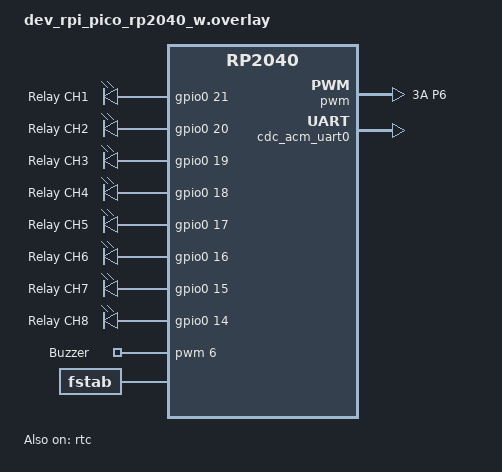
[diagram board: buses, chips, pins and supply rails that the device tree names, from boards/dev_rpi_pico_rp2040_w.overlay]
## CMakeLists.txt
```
# SPDX-License-Identifier: Apache-2.0

cmake_minimum_required(VERSION 3.13.1)

find_package(Zephyr REQUIRED HINTS $ENV{ZEPHYR_BASE})
project(WebinarEmbarcados2026)

target_include_directories(app PRIVATE
    ${CMAKE_CURRENT_SOURCE_DIR}/inc
)

# Add all source files
file(GLOB APP_SOURCES ${CMAKE_CURRENT_SOURCE_DIR}/src/*.c)
target_sources(app PRIVATE ${APP_SOURCES})

# Generate gzip-compressed web resources as C includes at build time
set(gen_dir ${ZEPHYR_BINARY_DIR}/include/generated/)

foreach(web_resource index.html app.js style.css)
    generate_inc_file_for_target(
        app
        www/${web_resource}
        ${gen_dir}/${web_resource}.gz.inc
        --gzip
    )
endforeach()

# HTTP server linker sections for web_service resources
zephyr_linker_sources(SECTIONS sections-rom.ld)
zephyr_linker_section(NAME http_resource_desc_web_service
                      KVMA RAM_REGION GROUP RODATA_REGION)
```

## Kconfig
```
#
# Zephyr configuration options
# Source the Kconfig.zephyr in the Zephyr root directory.
# Check out the docs: https://docs.zephyrproject.org/latest/develop/application/index.html#application-cmakelists-txt
#
menu "Zephyr"

source "Kconfig.zephyr"

endmenu

menu "Nordic Sta sample"

config CONNECTION_IDLE_TIMEOUT
    int "Time to be waited for a station to connect"
    default 30

config STA_SAMPLE_SSID
    string "SSID"
    help
        Specify the SSID to connect

choice  STA_KEY_MGMT_SELECT
    prompt "Security Option"
    default STA_KEY_MGMT_WPA3

config STA_KEY_MGMT_NONE
    bool "Open Security"
    help
        Enable for Open Security

config STA_KEY_MGMT_WPA2
    bool "WPA2 Security"
    help
        Enable for WPA2 Security

config STA_KEY_MGMT_WPA2_256
    bool "WPA2 SHA 256 Security"
    help
        Enable for WPA2-PSK-256 Security

config STA_KEY_MGMT_WPA3
    bool "WPA3 Security"
    help
        Enable for WPA3 Security
endchoice

config STA_SAMPLE_PASSWORD
    string "Passphrase (WPA2) or password (WPA3)"
    help
        Specify the Password to connect

config NRF700X_QSPI_ENCRYPTION_KEY
    string "16 bytes QSPI encryption key, only for testing purposes"
    depends on BOARD_NRF7002DK_NRF5340
    help
        Specify the QSPI encryption key
endmenu
```

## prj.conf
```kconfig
# GZM custom libraries
CONFIG_GZM_COMMON=y
CONFIG_GZM_RTC_MGR=y
CONFIG_GZM_WIFI_MGR=y
CONFIG_GZM_FS_MGR=y
CONFIG_GZM_RINGTONE=y

CONFIG_PRINTK=y
CONFIG_SERIAL=y
CONFIG_PICOLIBC=y
CONFIG_PICOLIBC_USE_MODULE=y
# Habilita Wi-Fi com o driver CYW43xx do Raspberry Pi Pico W
CONFIG_WIFI=y
CONFIG_WIFI_AIROC=y
CONFIG_NET_L2_WIFI_MGMT=y

# Networking geral com IPv4 e DHCP
CONFIG_NETWORKING=y
CONFIG_NET_IPV4=y
CONFIG_NET_IPV6=n
CONFIG_NET_DHCPV4=y
CONFIG_NET_SOCKETS=y
CONFIG_NET_TCP=y
CONFIG_NET_UDP=y
# CONFIG_NET_CONFIG_SETTINGS disabled: wifi_mgr handles DHCP/WiFi directly

# SNTP client
CONFIG_SNTP=y

# Suporte à geração de números aleatórios
# CONFIG_ENTROPY_GENERATOR não é usado: RP2040 não tem driver de entropia em Zephyr
CONFIG_TEST_RANDOM_GENERATOR=y
CONFIG_TIMER_RANDOM_GENERATOR=y

# Logs e shell para testes
CONFIG_LOG=y
CONFIG_LOG_BUFFER_SIZE=4096
CONFIG_PRINTK=y
CONFIG_SERIAL=y
CONFIG_SHELL=y
CONFIG_SHELL_BACKEND_SERIAL_RX_RING_BUFFER_SIZE=256
CONFIG_SHELL_CMD_BUFF_SIZE=512
CONFIG_NET_SHELL=y
CONFIG_NET_LOG=y
CONFIG_WIFI_LOG_LEVEL_WRN=y

# Shell via Telnet (porta 23)
CONFIG_SHELL_BACKEND_TELNET=y
CONFIG_SHELL_TELNET_PORT=23
CONFIG_SHELL_TELNET_SUPPORT_COMMAND=y

# Pilhas de execução
CONFIG_MAIN_STACK_SIZE=4096
CONFIG_SHELL_STACK_SIZE=2048
CONFIG_LOG_PROCESS_THREAD_STACK_SIZE=1024
CONFIG_INIT_STACKS=y

# Debug de crashes
CONFIG_DEBUG=y
CONFIG_EXCEPTION_DEBUG=y
CONFIG_FAULT_DUMP=2
CONFIG_EXTRA_EXCEPTION_INFO=y

# Heap para operações de rede, filesystem e HTTP server
CONFIG_HEAP_MEM_POOL_SIZE=32768

# Delay e temporizadores
CONFIG_TIMING_FUNCTIONS=y

# Console via USB CDC ACM (nova stack USB do Zephyr 4.3)
CONFIG_CONSOLE=y
CONFIG_STDOUT_CONSOLE=y
CONFIG_USB_DEVICE_STACK_NEXT=y
CONFIG_USBD_CDC_ACM_CLASS=y
CONFIG_CDC_ACM_SERIAL_INITIALIZE_AT_BOOT=y
CONFIG_CDC_ACM_SERIAL_PRODUCT_STRING="gzm-embedded-systems"
CONFIG_USBD_CDC_ACM_LOG_LEVEL_OFF=y
CONFIG_USBD_LOG_LEVEL_WRN=y

# RTC - Real Time Clock
CONFIG_RTC=y
CONFIG_RTC_SHELL=y

# HWINFO - reset cause + device ID (used by setup_init_sanity)
CONFIG_HWINFO=y

# Watchdog - resets the SoC if firmware hangs (5 s timeout)
CONFIG_WATCHDOG=y
CONFIG_WDT_DISABLE_AT_BOOT=n

# Flash e File System
CONFIG_FLASH=y
CONFIG_FLASH_MAP=y
CONFIG_FLASH_PAGE_LAYOUT=y

# LittleFS
CONFIG_FILE_SYSTEM=y
CONFIG_FILE_SYSTEM_LITTLEFS=y
CONFIG_FILE_SYSTEM_SHELL=y

# LittleFS - configurações otimizadas para RP2040
CONFIG_FS_LITTLEFS_FC_HEAP_SIZE=4096
CONFIG_FS_LITTLEFS_CACHE_SIZE=256
CONFIG_FS_LITTLEFS_PROG_SIZE=256
CONFIG_FS_LITTLEFS_READ_SIZE=16
CONFIG_FS_LITTLEFS_LOOKAHEAD_SIZE=128

# Storage (necessário para montar o filesystem)
CONFIG_SETTINGS=y
CONFIG_SETTINGS_RUNTIME=y

# HTTP Server
CONFIG_HTTP_SERVER=y
CONFIG_HTTP_SERVER_MAX_CLIENTS=2
CONFIG_HTTP_SERVER_CLIENT_BUFFER_SIZE=1024
CONFIG_HTTP_SERVER_MAX_URL_LENGTH=256
CONFIG_HTTP_SERVER_STACK_SIZE=6144
CONFIG_HTTP_SERVER_RESOURCE_WILDCARD=y

# JSON library (para Relay API)
CONFIG_JSON_LIBRARY=y

# GPIO (relays)
CONFIG_GPIO=y

# PWM (buzzer passivo GP6)
CONFIG_PWM=y

# LED Strip - WS2812 via PIO (GP13)
CONFIG_LED_STRIP=y

# mDNS
CONFIG_MDNS_RESPONDER=y
CONFIG_DNS_SD=y
CONFIG_NET_HOSTNAME_ENABLE=y
CONFIG_NET_HOSTNAME="embarcados"

# File descriptors (eventfd + sockets para HTTP server)
CONFIG_ZVFS_OPEN_MAX=16
CONFIG_ZVFS_EVENTFD_MAX=2
CONFIG_ZVFS_POLL_MAX=6
CONFIG_NET_SOCKETS_SERVICE_STACK_SIZE=2048

# Network buffers (ajustados para HTTP server + WiFi no RP2040)
CONFIG_NET_PKT_RX_COUNT=8
CONFIG_NET_PKT_TX_COUNT=8
CONFIG_NET_BUF_RX_COUNT=16
CONFIG_NET_BUF_TX_COUNT=16
CONFIG_NET_BUF_DATA_SIZE=512
CONFIG_NET_MAX_CONTEXTS=8
CONFIG_NET_MAX_CONN=8
CONFIG_NET_TX_STACK_SIZE=2048
CONFIG_NET_RX_STACK_SIZE=2048
CONFIG_NET_TCP_WORKQ_STACK_SIZE=2048
```

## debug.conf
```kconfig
# Debug configuration for RP2040
# Note: Avoid CONFIG_DEBUG_OPTIMIZATIONS as it can affect
# flash functions placement in RAM

CONFIG_DEBUG=y
CONFIG_DEBUG_THREAD_INFO=y

# NAO habilitar CONFIG_ARM_MPU / CONFIG_HW_STACK_PROTECTION neste SoC.
# Com CONFIG_XIP=y o REGION_RAM_ATTR do Zephyr marca toda a SRAM como
# execute-never (MPU_RASR_XN_Msk). As rotinas de flash do RP2040 sao
# __no_inline_not_in_flash_func, ou seja, rodam a partir da SRAM porque o
# XIP precisa ser desligado para falar com a QSPI. Resultado: hard fault
# em flash_do_cmd() logo no boot (hwinfo -> serial USB, littlefs, etc).
#
# Substituto por software para detectar estouro de pilha, sem MPU:
# grava um valor magico na base de cada pilha e verifica a cada troca
# de contexto, matando a thread culpada com log em vez de corromper.
CONFIG_STACK_SENTINEL=y

# Relatorio periodico de uso de pilha por thread (precisa de INIT_STACKS,
# ja habilitado no prj.conf).
CONFIG_THREAD_ANALYZER=y
CONFIG_THREAD_ANALYZER_USE_LOG=y
CONFIG_THREAD_ANALYZER_AUTO=y
CONFIG_THREAD_ANALYZER_AUTO_INTERVAL=10
CONFIG_THREAD_NAME=y
```

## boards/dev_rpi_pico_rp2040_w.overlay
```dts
/*
 * SPDX-License-Identifier: Apache-2.0
 *
 * Overlay para Industrial 8-Channel Relay Module for Raspberry Pi Pico W
 *
 * GPIO Map:
 *   GP6  - Buzzer (passive, PWM slice 3 ch A)
 *   GP13 - WS2812 RGB LED (PIO1)
 *   GP14 - Relay CH8    GP18 - Relay CH4
 *   GP15 - Relay CH7    GP19 - Relay CH3
 *   GP16 - Relay CH6    GP20 - Relay CH2
 *   GP17 - Relay CH5    GP21 - Relay CH1
 */

#include <dt-bindings/pinctrl/rpi-pico-rp2040-pinctrl.h>
#include <dt-bindings/pwm/pwm.h>
#include <dt-bindings/led/led.h>

/ {
	chosen {
		zephyr,console = &cdc_acm_uart0;
		zephyr,shell-uart = &cdc_acm_uart0;
	};

	/* 8-Channel Relay outputs (Active HIGH) */
	relays {
		compatible = "gpio-leds";
		relay1: relay_1 { gpios = <&gpio0 21 GPIO_ACTIVE_HIGH>; label = "Relay CH1"; };
		relay2: relay_2 { gpios = <&gpio0 20 GPIO_ACTIVE_HIGH>; label = "Relay CH2"; };
		relay3: relay_3 { gpios = <&gpio0 19 GPIO_ACTIVE_HIGH>; label = "Relay CH3"; };
		relay4: relay_4 { gpios = <&gpio0 18 GPIO_ACTIVE_HIGH>; label = "Relay CH4"; };
		relay5: relay_5 { gpios = <&gpio0 17 GPIO_ACTIVE_HIGH>; label = "Relay CH5"; };
		relay6: relay_6 { gpios = <&gpio0 16 GPIO_ACTIVE_HIGH>; label = "Relay CH6"; };
		relay7: relay_7 { gpios = <&gpio0 15 GPIO_ACTIVE_HIGH>; label = "Relay CH7"; };
		relay8: relay_8 { gpios = <&gpio0 14 GPIO_ACTIVE_HIGH>; label = "Relay CH8"; };
	};

	/* Passive buzzer via PWM (GP6 = PWM slice 3, channel A = index 6) */
	pwmleds {
		compatible = "pwm-leds";
		buzzer0: buzzer0 {
			pwms = <&pwm 6 PWM_HZ(1000) PWM_POLARITY_NORMAL>;
			label = "Buzzer";
		};
	};

	aliases {
		relay1 = &relay1;
		relay2 = &relay2;
		relay3 = &relay3;
		relay4 = &relay4;
		relay5 = &relay5;
		relay6 = &relay6;
		relay7 = &relay7;
		relay8 = &relay8;
		pwm-buzzer0 = &buzzer0;
		led-strip = &ws2812;
	};

	fstab {
		compatible = "zephyr,fstab";
		lfs1: lfs1 {
			compatible = "zephyr,fstab,littlefs";
			read-size = <16>;
			prog-size = <256>;
			cache-size = <256>;
			lookahead-size = <128>;
			block-cycles = <512>;
			partition = <&storage_partition>;
			mount-point = "/lfs1";
		};
	};
};

/* Pinctrl for PWM buzzer (GP6) and WS2812 PIO (GP13) */
&pinctrl {
	pwm_ch3a_default: pwm_ch3a_default {
		group1 {
			pinmux = <PWM_3A_P6>;
		};
	};

	pio1_ws2812_default: pio1_ws2812_default {
		ws2812 {
			pinmux = <PIO1_P13>;
		};
	};
};

/* PWM for buzzer on GP6 */
&pwm {
	status = "okay";
	pinctrl-0 = <&pwm_ch3a_default>;
	pinctrl-names = "default";
};

/* WS2812 RGB LED on GP13 via PIO1 (PIO0 is used by WiFi CYW43) */
&pio1 {
	status = "okay";

	pio1_ws2812: pio1_ws2812 {
		compatible = "worldsemi,ws2812-rpi_pico-pio";
		status = "okay";
		pinctrl-0 = <&pio1_ws2812_default>;
		pinctrl-names = "default";
		bit-waveform = <3>, <3>, <4>;

		ws2812: ws2812 {
			gpios = <&gpio0 13 GPIO_ACTIVE_HIGH>;
			chain-length = <1>;
			color-mapping = <LED_COLOR_ID_GREEN
					 LED_COLOR_ID_RED
					 LED_COLOR_ID_BLUE>;
			reset-delay = <280>;
			frequency = <800000>;
		};
	};
};

/* Habilitar RTC explicitamente */
&rtc {
	status = "okay";
};

/*
 * Flash Memory Map - RP2040 (2 MB total)
 * XIP base address: 0x10000000
 *
 *  Abs. Address   Offset     Size      Partition
 * ┌─────────────────────────────────────────────────┐
 * │ 0x10200000    0x200000                           │
 * ├╌╌╌╌╌╌╌╌╌╌╌╌╌╌╌╌╌╌╌╌╌╌╌╌╌╌╌╌╌╌╌╌╌╌╌╌╌╌╌╌╌╌╌╌╌╌╌┤
 * │ 0x101F0000 ┐  0x1F0000   64 KB   storage        │
 * │            │             label = "storage"       │
 * ├╌╌╌╌╌╌╌╌╌╌╌┘╌╌╌╌╌╌╌╌╌╌╌╌╌╌╌╌╌╌╌╌╌╌╌╌╌╌╌╌╌╌╌╌╌╌╌╌┤
 * │ 0x10000100 ┐              ~2 MB   code_partition │
 * │            │  0x000100  1.996 MB  label =        │
 * │            │                      "code-         │
 * │            │                       partition"    │
 * │            │                      (read-only)    │
 * │            │                                     │
 * ├╌╌╌╌╌╌╌╌╌╌╌┘╌╌╌╌╌╌╌╌╌╌╌╌╌╌╌╌╌╌╌╌╌╌╌╌╌╌╌╌╌╌╌╌╌╌╌╌┤
 * │ 0x10000000    0x000000    256 B   2nd stage boot │
 * │                                   (read-only)    │
 * └─────────────────────────────────────────────────┘
 */
&flash0 {
	partitions {
		compatible = "fixed-partitions";
		#address-cells = <1>;
		#size-cells = <1>;

		second_stage_bootloader: partition@0 {
			label = "second_stage_bootloader";
			reg = <0x00000000 0x100>;
			read-only;
		};

		code_partition: partition@100 {
			label = "code-partition";
			reg = <0x100 0x1EFF00>;
			read-only;
		};

		storage_partition: partition@1f0000 {
			label = "storage";
			reg = <0x1F0000 0x10000>;
		};
	};
};

/* USB CDC ACM UART para console e shell */
&zephyr_udc0 {
	cdc_acm_uart0: cdc_acm_uart0 {
		compatible = "zephyr,cdc-acm-uart";
	};
};
```

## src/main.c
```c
#include <zephyr/kernel.h>
#include <zephyr/logging/log.h>

#include "setup.h"

LOG_MODULE_REGISTER(main, LOG_LEVEL_INF);

#define MAIN_LOOP_PERIOD_MS 300

int main(void)
{
	setup_init();

	while (1) {
		k_msleep(MAIN_LOOP_PERIOD_MS);
		setup_wdt_feed();
	}

	return 0;
}
```

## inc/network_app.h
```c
#ifndef NETWORK_APP_H
#define NETWORK_APP_H

#include <zephyr/net/net_if.h>

#ifdef __cplusplus
extern "C" {
#endif

int network_task_init(struct net_if *iface);
int network_task_deinit(void);

#ifdef __cplusplus
}
#endif

#endif /* NETWORK_APP_H */
```

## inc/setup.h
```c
#ifndef SETUP_H
#define SETUP_H

#ifdef __cplusplus
extern "C" {
#endif


int setup_init(void);
int setup_wdt_feed(void);

#ifdef __cplusplus
}
#endif

#endif /* SETUP_H */
```

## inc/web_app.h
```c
#ifndef WEB_APP_H
#define WEB_APP_H

#ifdef __cplusplus
extern "C" {
#endif

int web_app_start(void);

#ifdef __cplusplus
}
#endif

#endif /* WEB_APP_H */
```

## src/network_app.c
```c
#include "network_app.h"
#include "web_app.h"

#include <errno.h>

#include <zephyr/kernel.h>
#include <zephyr/logging/log.h>

#include <gzm/wifi_mgr.h>
#include <gzm/rtc_mgr.h>

LOG_MODULE_REGISTER(network_app, CONFIG_LOG_DEFAULT_LEVEL);

#define WIFI_SSID                 "@GUZM"
#define WIFI_PSK                  "tijolo2022"
#define SNTP_PORT                 123
#define SNTP_SERVER_ADDR          "216.239.35.0"  /* time.google.com */
#define LOCAL_TIMEZONE_HOURS      (-3)            /* BRT (UTC-3)    */
#define WIFI_SETTLE_DELAY_MS      2000
#define RECONNECT_DELAY_SECONDS   10
#define EVENT_POLL_TIMEOUT_S      3
#define IDLE_FALLBACK_SLEEP_S     1

#define NETWORK_TASK_STACK_SIZE   2048
#define NETWORK_TASK_PRIORITY     7

enum network_state {
	NETWORK_STATE_IDLE,
	NETWORK_STATE_OFFLINE,
	NETWORK_STATE_CONNECTING,
	NETWORK_STATE_RUNNING,
};

static K_THREAD_STACK_DEFINE(g_stack, NETWORK_TASK_STACK_SIZE);
static struct k_thread g_thread;
static k_tid_t g_tid;
static struct net_if *g_iface;
static bool g_initialized;
static bool g_web_app_started;

static enum network_state g_state = NETWORK_STATE_IDLE;

static const char *state_name(enum network_state s)
{
	switch (s) {
	case NETWORK_STATE_IDLE:       return "IDLE";
	case NETWORK_STATE_OFFLINE:    return "OFFLINE";
	case NETWORK_STATE_CONNECTING: return "CONNECTING";
	case NETWORK_STATE_RUNNING:    return "RUNNING";
	}
	return "?";
}

static void transition_to(enum network_state new_state)
{
	LOG_INF("state: %s → %s", state_name(g_state), state_name(new_state));
	g_state = new_state;
}

/* Process a single wifi_mgr event in the RUNNING state. Returns the
 * next state: stays in RUNNING for benign events, transitions to OFFLINE
 * on disconnect.
 */
static enum network_state handle_event_running(const struct wifi_mgr_event_data *evt)
{
	switch (evt->type) {
	case WIFI_MGR_EVENT_DISCONNECTED:
		LOG_WRN("event: wifi disconnected");
		return NETWORK_STATE_OFFLINE;

	case WIFI_MGR_EVENT_IP_OBTAINED:
		LOG_INF("event: IPv4 renewed → ip=%s gw=%s", evt->ip, evt->gw);
		return NETWORK_STATE_RUNNING;

	case WIFI_MGR_EVENT_CONNECTED:
		LOG_INF("event: wifi (re)connected");
		return NETWORK_STATE_RUNNING;

	default:
		return NETWORK_STATE_RUNNING;
	}
}

/* Full bring-up sequence used when entering CONNECTING. Returns 0 on
 * success or negative errno on any failure (caller goes back to OFFLINE).
 */
static int network_bringup(void)
{
	int ret;
	uint32_t timestamp;
	struct rtc_time datetime;

	ret = wifi_mgr_connect(WIFI_SSID, WIFI_PSK);
	if (ret < 0) {
		LOG_ERR("WiFi connect failed (%d)", ret);
		return ret;
	}

	ret = wifi_mgr_wait_for_ip();
	if (ret < 0) {
		LOG_ERR("DHCP failed (%d)", ret);
		return ret;
	}

	k_msleep(WIFI_SETTLE_DELAY_MS);

	timestamp = wifi_mgr_sntp(SNTP_SERVER_ADDR, SNTP_PORT);
	if (timestamp > 0) {
		rtc_mgr_set_timestamp(timestamp);
		rtc_mgr_set_timezone(LOCAL_TIMEZONE_HOURS);
		rtc_mgr_get_local(&datetime);
		LOG_INF("RTC synced (local UTC%+d): %.4d-%.2d-%.2d %.2d:%.2d:%.2d",
			LOCAL_TIMEZONE_HOURS,
			datetime.tm_year, datetime.tm_mon, datetime.tm_mday,
			datetime.tm_hour, datetime.tm_min, datetime.tm_sec);
	} else {
		LOG_WRN("Failed to sync RTC with SNTP");
	}

	/* web_app_start is one-shot, Zephyr's HTTP server keeps running
	 * across wifi disconnect/reconnect, sockets are recovered by the
	 * stack on its own.
	 */
	if (!g_web_app_started) {
		ret = web_app_start();
		if (ret < 0) {
			LOG_ERR("web_app_start failed (%d)", ret);
			return ret;
		}
		g_web_app_started = true;
	}

	return 0;
}

static void network_thread(void *p1, void *p2, void *p3)
{
	ARG_UNUSED(p1);
	ARG_UNUSED(p2);
	ARG_UNUSED(p3);
	struct wifi_mgr_event_data evt;
	
	wifi_mgr_init(g_iface);

	transition_to(NETWORK_STATE_OFFLINE);

	while (1) {
		switch (g_state) {
		case NETWORK_STATE_OFFLINE:
			/* Drop any stale events from a previous session so
			 * the next RUNNING phase is not woken by old data.
			 */
			wifi_mgr_event_drain();
			transition_to(NETWORK_STATE_CONNECTING);
			break;

		case NETWORK_STATE_CONNECTING:
			if (network_bringup() == 0) {
				transition_to(NETWORK_STATE_RUNNING);
			} else {
				LOG_WRN("bring-up failed, retrying in %d s",
					RECONNECT_DELAY_SECONDS);
				k_sleep(K_SECONDS(RECONNECT_DELAY_SECONDS));
				transition_to(NETWORK_STATE_OFFLINE);
			}
			break;

		case NETWORK_STATE_RUNNING: {
			/* Idle: poll the wifi_mgr event queue with a 3 s timeout
			 * (-EAGAIN on timeout is silently ignored, we just loop
			 * back to RUNNING). Avoids a forever-block in case an
			 * event is ever lost upstream.
			 */
			if (wifi_mgr_event_get(&evt, K_SECONDS(EVENT_POLL_TIMEOUT_S)) == 0) {
				enum network_state next = handle_event_running(&evt);

				if (next != g_state) {
					transition_to(next);
				}
			}
			break;
		}

		case NETWORK_STATE_IDLE:
		default:
			/* Should never happen after entering the loop. */
			k_sleep(K_SECONDS(IDLE_FALLBACK_SLEEP_S));
			break;
		}
	}
}

int network_task_init(struct net_if *iface)
{
	if (iface == NULL) {
		LOG_ERR("network_task_init: NULL iface");
		return -EINVAL;
	}

	if (g_initialized) {
		LOG_WRN("network_task_init: already initialized, call ignored");
		return -EALREADY;
	}

	g_iface = iface;
	g_initialized = true;

	g_tid = k_thread_create(&g_thread, g_stack,
				K_THREAD_STACK_SIZEOF(g_stack),
				network_thread, NULL, NULL, NULL,
				NETWORK_TASK_PRIORITY, 0, K_NO_WAIT);
	k_thread_name_set(g_tid, "network");

	LOG_INF("network_task_init: worker spawned");
	return 0;
}

int network_task_deinit(void)
{
	if (!g_initialized) {
		LOG_WRN("network_task_deinit: not initialized");
		return -EALREADY;
	}

	if (g_tid != NULL) {
		k_thread_abort(g_tid);
		g_tid = NULL;
	}

	wifi_mgr_event_drain();

	g_state = NETWORK_STATE_IDLE;
	g_iface = NULL;
	g_initialized = false;

	LOG_INF("network_task_deinit: stopped");
	return 0;
}
```

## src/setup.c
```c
#include "setup.h"
#include "network_app.h"

#include <errno.h>

#include <zephyr/kernel.h>
#include <zephyr/logging/log.h>
#include <zephyr/drivers/hwinfo.h>
#include <zephyr/drivers/watchdog.h>
#include <zephyr/net/net_if.h>
#include <zephyr/fs/fs.h>
#include <zephyr/fs/littlefs.h>
#include <zephyr/storage/flash_map.h>

#include <gzm/rtc_mgr.h>
#include <gzm/fs_mgr.h>
#include <gzm/ringtone.h>

LOG_MODULE_REGISTER(setup, CONFIG_LOG_DEFAULT_LEVEL);

/* LittleFS mount point - usando a partição storage definida no overlay */
#define STORAGE_PARTITION_ID PARTITION_ID(storage_partition)

/* Configuração otimizada para RP2040 (PAGE_SIZE=256, SECTOR_SIZE=4096) */
static struct fs_littlefs lfs_data = {
    .cfg = {
        .read_size = 16,
        .prog_size = 256,
        .cache_size = 256,
        .lookahead_size = 128,
        .block_cycles = 512,
    },
};

static struct fs_mount_t lfs_storage_mnt = {
    .type = FS_LITTLEFS,
    .fs_data = &lfs_data,
    .storage_dev = (void *)STORAGE_PARTITION_ID,
    .mnt_point = "/lfs1",
};

/* Ringtone PWM buzzer, resolved here so the lib stays portable */
static const struct pwm_dt_spec buzzer_pwm =
	PWM_DT_SPEC_GET(DT_ALIAS(pwm_buzzer0));

/* Watchdog: 5 s timeout, fed from main()'s idle loop via setup_wdt_feed(). */
#define WDT_TIMEOUT_MS 5000

static const struct device *const g_wdt = DEVICE_DT_GET(DT_ALIAS(watchdog0));
static int g_wdt_channel = -1;

/* Human-readable names for the RESET_* flags defined in <drivers/hwinfo.h>.
 * Each SoC reports only the subset of flags supported by its hardware.
 *
 * is_error = true → unexpected/abnormal reset (logs as LOG_ERR).
 * is_error = false → planned/benign reset (logs as LOG_INF).
 */
struct reset_cause {
	uint32_t flag;
	const char *name;
	bool is_error;
};

static const struct reset_cause reset_cause_names[] = {
	{ RESET_PIN,            "PIN (NRST)",                   false },
	{ RESET_SOFTWARE,       "SOFTWARE (NVIC_SystemReset)",  false },
	{ RESET_BROWNOUT,       "BROWNOUT (low voltage)",       true  },
	{ RESET_POR,            "POR (power-on)",               false },
	{ RESET_WATCHDOG,       "WATCHDOG (firmware hang)",     true  },
	{ RESET_DEBUG,          "DEBUG (debugger)",             false },
	{ RESET_SECURITY,       "SECURITY (violation)",         true  },
	{ RESET_LOW_POWER_WAKE, "LOW_POWER_WAKE (unexpected)",  true  },
	{ RESET_CPU_LOCKUP,     "CPU_LOCKUP (hard fault)",      true  },
	{ RESET_PARITY,         "PARITY (memory error)",        true  },
	{ RESET_PLL,            "PLL (clock fault)",            true  },
	{ RESET_CLOCK,          "CLOCK (clock fault)",          true  },
	{ RESET_HARDWARE,       "HARDWARE (generic fault)",     true  },
	{ RESET_USER,           "USER (app-defined)",           true  },
	{ RESET_TEMPERATURE,    "TEMPERATURE (overheat)",       true  },
};

static int  setup_init_middlware(void);
static void setup_init_sanity(void);
static int  setup_init_database(void);
static int  setup_init_tasks(void);
static int  setup_fatal_error(int error);
static int  setup_init_watchdog(void);

static int setup_init_middlware(void)
{
	int ret;

	LOG_INF("  [1/4] middlware");

	setup_init_watchdog();

	ret = rtc_mgr_init(DEVICE_DT_GET(DT_NODELABEL(rtc)));
	if (ret < 0) {
		LOG_ERR("RTC init failed (%d)", ret);
	}

	ret = fs_mgr_init(&lfs_storage_mnt);
	if (ret < 0) {
		LOG_ERR("FS init failed (%d)", ret);
	}

	ringtone_init(&buzzer_pwm);

	return 0;
}

static int setup_init_watchdog(void)
{
	struct wdt_timeout_cfg cfg = {
		.window.min = 0U,
		.window.max = WDT_TIMEOUT_MS,
		.callback = NULL,
		.flags = WDT_FLAG_RESET_SOC,
	};
	int ret;

	if (!device_is_ready(g_wdt)) {
		LOG_ERR("watchdog device not ready");
		return -ENODEV;
	}

	ret = wdt_install_timeout(g_wdt, &cfg);
	if (ret < 0) {
		LOG_ERR("wdt_install_timeout failed: %d", ret);
		return ret;
	}
	g_wdt_channel = ret;

	ret = wdt_setup(g_wdt, WDT_OPT_PAUSE_HALTED_BY_DBG);
	if (ret < 0) {
		LOG_ERR("wdt_setup failed: %d", ret);
		g_wdt_channel = -1;
		return ret;
	}

	LOG_INF("watchdog armed: %d ms timeout, channel %d",
		WDT_TIMEOUT_MS, g_wdt_channel);
	return 0;
}

int setup_wdt_feed(void)
{
	if (g_wdt_channel < 0) {
		return -ENODEV;
	}
	return wdt_feed(g_wdt, g_wdt_channel);
}

static void setup_init_sanity(void)
{
	uint32_t cause = 0;
	int ret;
	size_t i;

	LOG_INF("  [2/4] sanity");

	ret = hwinfo_get_reset_cause(&cause);
	if (ret < 0) {
		LOG_WRN("    reset cause unavailable: %d", ret);
		return;
	}

	if (cause == 0) {
		LOG_INF("    last reset: (no flags reported by hardware)");
	} else {
		LOG_INF("    last reset cause: 0x%08x", cause);
		for (i = 0; i < ARRAY_SIZE(reset_cause_names); i++) {
			if (cause & reset_cause_names[i].flag) {
				if (reset_cause_names[i].is_error) {
					LOG_ERR("      - %s", reset_cause_names[i].name);
				} else {
					LOG_INF("      - %s", reset_cause_names[i].name);
				}
			}
		}
	}

	/* Clear flags so the next boot only reports its own cause. */
	(void)hwinfo_clear_reset_cause();
}

static int setup_init_database(void)
{
	LOG_INF("  [3/4] database");
	return 0;
}

static int setup_init_tasks(void)
{
	int err;
	LOG_INF("  [4/4] tasks");

	err = network_task_init(net_if_get_default());

	return err;
}

static int setup_fatal_error(int error)
{
	LOG_ERR("setup_fatal_error: phase failed with %d", error);
	return error;
}

int setup_init(void)
{
	int err;

	LOG_INF("setup_init: starting");

	setup_init_sanity();
	
	err = setup_init_middlware();
	if (err) {
		return setup_fatal_error(err);
	}

	err = setup_init_database();
	if (err) {
		return setup_fatal_error(err);
	}

	err = setup_init_tasks();
	if (err) {
		return setup_fatal_error(err);
	}

	LOG_INF("setup_init: done");
	return 0;
}
```
